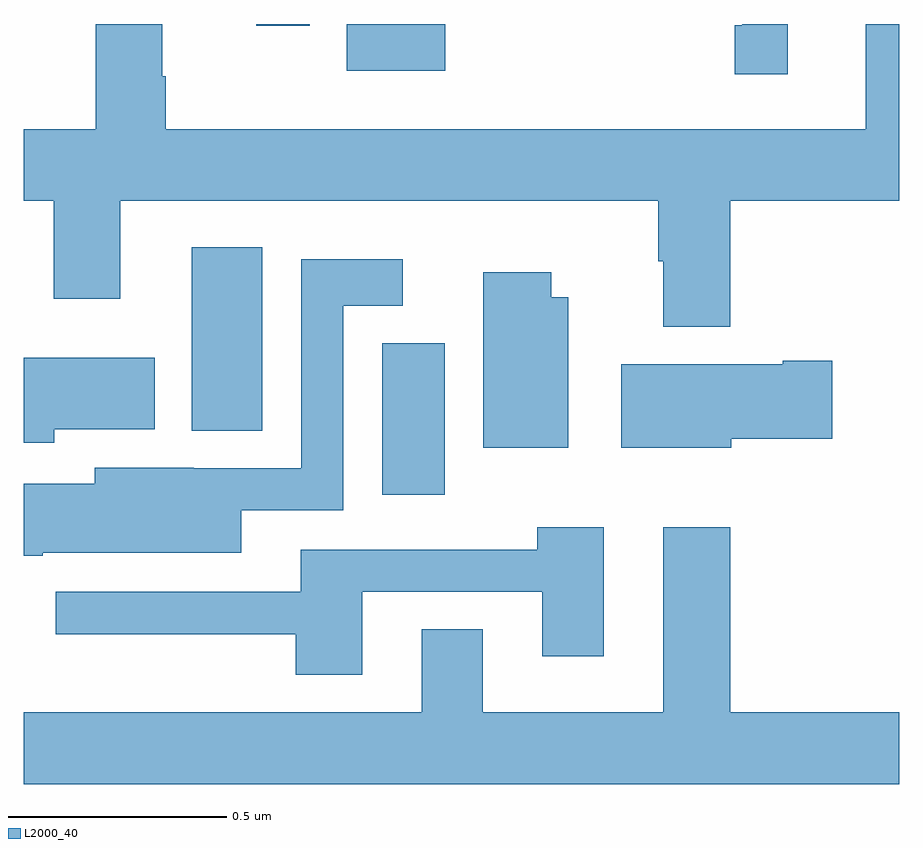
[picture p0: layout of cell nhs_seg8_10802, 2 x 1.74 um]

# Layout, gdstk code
import gdstk
lib = gdstk.Library(unit=1e-6, precision=1e-09)
def R(c, l, rs):  # rectangles x0, y0, x1, y1
    for r in rs: c.add(gdstk.rectangle(r[:2], r[2:], *l))
def P(c, l, *ps):  # polygons
    for p in ps: c.add(gdstk.Polygon(p, *l))
L2000_40 = (2000, 40)

nhs_seg8_10802 = lib.new_cell('nhs_seg8_10802')
R(nhs_seg8_10802, L2000_40, [(254.819,1119.825,254.962,1120.171), (254.384,1119.971,254.545,1120.39), (254.738,1120.793,254.963,1120.9), (254.531,1120.896,254.653,1120.9)])
P(nhs_seg8_10802, L2000_40, [(255.745,1120.9),(255.641,1120.9),(255.641,1120.897),(255.624,1120.897),(255.624,1120.785),(255.745,1120.785)],
  [(255.614,1120.496),(256,1120.496),(256,1120.9),(255.923,1120.9),(255.923,1120.66),(254.325,1120.66),(254.325,1120.781),(254.317,1120.781),(254.317,1120.9),(254.165,1120.9),(254.165,1120.66),(254,1120.66),(254,1120.496),(254.069,1120.496),(254.069,1120.272),(254.221,1120.272),(254.221,1120.496),(255.449,1120.496),(255.449,1120.358),(255.461,1120.358),(255.461,1120.208),(255.614,1120.208)],
  [(254.044,1119.692),(254.497,1119.692),(254.497,1119.789),(254.73,1119.789),(254.73,1120.256),(254.866,1120.256),(254.866,1120.363),(254.634,1120.363),(254.634,1119.885),(254.388,1119.885),(254.388,1119.886),(254.162,1119.886),(254.162,1119.85),(254,1119.85),(254,1119.685),(254.044,1119.685)],
  [(255.244,1120.276),(255.205,1120.276),(255.205,1120.333),(255.05,1120.333),(255.05,1119.932),(255.244,1119.932)],
  [(254.07,1119.974),(254.299,1119.974),(254.299,1120.138),(254,1120.138),(254,1119.944),(254.07,1119.944)],
  [(255.616,1119.953),(255.847,1119.953),(255.847,1120.131),(255.734,1120.131),(255.734,1120.123),(255.365,1120.123),(255.365,1119.932),(255.616,1119.932)],
  [(256,1119.328),(255.614,1119.328),(255.614,1119.751),(255.461,1119.751),(255.461,1119.328),(255.049,1119.328),(255.049,1119.518),(254.909,1119.518),(254.909,1119.328),(254,1119.328),(254,1119.164),(256,1119.164)],
  [(254.773,1119.603),(255.185,1119.603),(255.185,1119.456),(255.325,1119.456),(255.325,1119.751),(255.173,1119.751),(255.173,1119.699),(254.633,1119.699),(254.633,1119.603),(254.073,1119.603),(254.073,1119.506),(254.621,1119.506),(254.621,1119.414),(254.773,1119.414)])

lib.write_gds('nhs_seg8_10802.gds')
